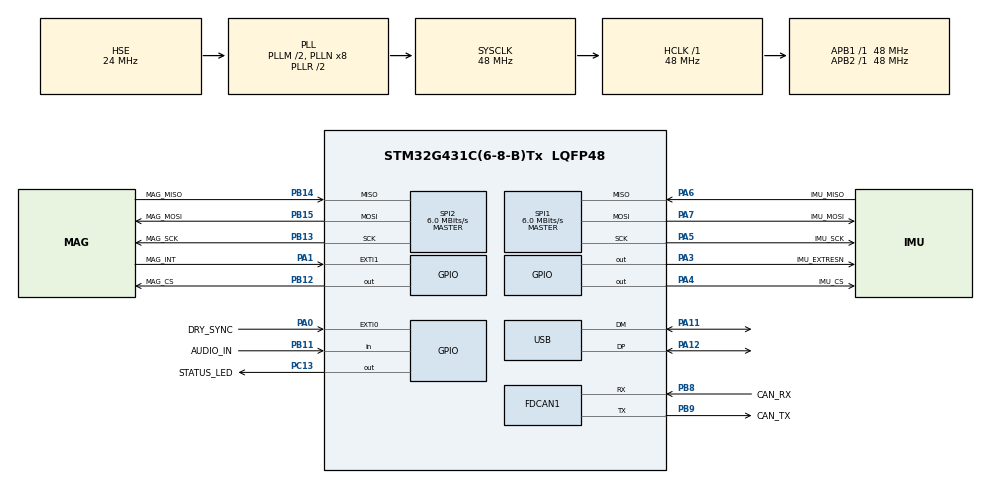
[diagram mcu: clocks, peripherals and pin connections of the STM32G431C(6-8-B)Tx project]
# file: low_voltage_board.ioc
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CRC.CRCLength=CRC_POLYLENGTH_16B
CRC.DefaultInitValueUse=DEFAULT_INIT_VALUE_DISABLE
CRC.DefaultPolynomialUse=DEFAULT_POLYNOMIAL_DISABLE
CRC.GeneratingPolynomial=X12+X5+X0
CRC.InitValue=0xFFFF
FDCAN1.AutoRetransmission=ENABLE
FDCAN1.CalculateBaudRateNominal=500000
FDCAN1.CalculateTimeBitNominal=2000
FDCAN1.CalculateTimeQuantumNominal=666.6666666666666
FDCAN1.StdFiltersNbr=1
Mcu.Family=STM32G4
Mcu.Name=STM32G431C(6-8-B)Tx
Mcu.Package=LQFP48
NVIC.EXTI0_IRQn=true\:0\:0\:false\:false\:true\:true\:true\:true
NVIC.EXTI1_IRQn=true\:0\:0\:false\:false\:true\:true\:true\:true
NVIC.PriorityGroup=NVIC_PRIORITYGROUP_4
NVIC.USB_LP_IRQn=true\:0\:0\:false\:false\:true\:false\:true\:true
PA0.GPIO_Label=DRY_SYNC
PA0.Signal=GPXTI0
PA1.GPIO_Label=MAG_INT
PA1.Signal=GPXTI1
PA11.Mode=Device
PA11.Signal=USB_DM
PA12.Mode=Device
PA12.Signal=USB_DP
PA13.Mode=Serial_Wire
PA13.Signal=SYS_JTMS-SWDIO
PA14.Mode=Serial_Wire
PA14.Signal=SYS_JTCK-SWCLK
PA3.GPIO_Label=IMU_EXTRESN
PA3.GPIO_Speed=GPIO_SPEED_FREQ_HIGH
PA3.PinState=GPIO_PIN_SET
PA3.Signal=GPIO_Output
PA4.GPIO_Label=IMU_CS
PA4.GPIO_Speed=GPIO_SPEED_FREQ_HIGH
PA4.PinState=GPIO_PIN_SET
PA4.Signal=GPIO_Output
PA5.GPIO_Label=IMU_SCK
PA5.Mode=Full_Duplex_Master
PA5.Signal=SPI1_SCK
PA6.GPIO_Label=IMU_MISO
PA6.Mode=Full_Duplex_Master
PA6.Signal=SPI1_MISO
PA7.GPIO_Label=IMU_MOSI
PA7.Mode=Full_Duplex_Master
PA7.Signal=SPI1_MOSI
PB0.GPIO_Label=ESC_PWM4
PB0.Signal=S_TIM3_CH3
PB1.GPIO_Label=ESC_PWM3
PB1.Signal=S_TIM3_CH4
PB11.GPIO_Label=AUDIO_IN
PB11.Signal=GPIO_Input
PB12.GPIO_Label=MAG_CS
PB12.GPIO_Speed=GPIO_SPEED_FREQ_HIGH
PB12.PinState=GPIO_PIN_SET
PB12.Signal=GPIO_Output
PB13.GPIO_Label=MAG_SCK
PB13.Mode=Full_Duplex_Master
PB13.Signal=SPI2_SCK
PB14.GPIO_Label=MAG_MISO
PB14.GPIO_PuPd=GPIO_PULLUP
PB14.Mode=Full_Duplex_Master
PB14.Signal=SPI2_MISO
PB15.GPIO_Label=MAG_MOSI
PB15.Mode=Full_Duplex_Master
PB15.Signal=SPI2_MOSI
PB4.GPIO_Label=ESC_PWM1
PB4.Signal=S_TIM3_CH1
PB5.GPIO_Label=ESC_PWM2
PB5.Signal=S_TIM3_CH2
PB8-BOOT0.GPIO_Label=CAN_RX
PB8-BOOT0.Mode=FDCAN_Activate
PB8-BOOT0.Signal=FDCAN1_RX
PB9.GPIO_Label=CAN_TX
PB9.Mode=FDCAN_Activate
PB9.Signal=FDCAN1_TX
PC13.GPIO_Label=STATUS_LED
PC13.Signal=GPIO_Output
PF0-OSC_IN.Mode=HSE-External-Oscillator
PF0-OSC_IN.Signal=RCC_OSC_IN
PF1-OSC_OUT.Mode=HSE-External-Oscillator
PF1-OSC_OUT.Signal=RCC_OSC_OUT
ProjectManager.HeapSize=0x200
ProjectManager.StackSize=0x400
ProjectManager.TargetToolchain=CMake
RCC.ADC12Freq_Value=48000000
RCC.AHBFreq_Value=48000000
RCC.APB1Freq_Value=48000000
RCC.APB1TimFreq_Value=48000000
RCC.APB2Freq_Value=48000000
RCC.APB2TimFreq_Value=48000000
RCC.CortexFreq_Value=48000000
RCC.EXTERNAL_CLOCK_VALUE=12288000
RCC.FDCANCLockSelection=RCC_FDCANCLKSOURCE_HSE
RCC.HCLKFreq_Value=48000000
RCC.HSE_VALUE=24000000
RCC.HSI48_VALUE=48000000
RCC.HSI_VALUE=16000000
RCC.LSE_VALUE=32768
RCC.PLLM=RCC_PLLM_DIV2
RCC.PLLSourceVirtual=RCC_PLLSOURCE_HSE
RCC.SYSCLKFreq_VALUE=48000000
RCC.SYSCLKSource=RCC_SYSCLKSOURCE_PLLCLK
RCC.USBFreq_Value=48000000
RCC.VCOOutputFreq_Value=96000000
SH.S_TIM3_CH1.0=TIM3_CH1
SH.S_TIM3_CH2.0=TIM3_CH2
SH.S_TIM3_CH3.0=TIM3_CH3
SH.S_TIM3_CH4.0=TIM3_CH4
SPI1.BaudRatePrescaler=SPI_BAUDRATEPRESCALER_8
SPI1.CalculateBaudRate=6.0 MBits/s
SPI1.DataSize=SPI_DATASIZE_8BIT
SPI1.Direction=SPI_DIRECTION_2LINES
SPI1.Mode=SPI_MODE_MASTER
SPI1.NSSPMode=SPI_NSS_PULSE_DISABLE
SPI1.VirtualType=VM_MASTER
SPI2.BaudRatePrescaler=SPI_BAUDRATEPRESCALER_8
SPI2.CLKPhase=SPI_PHASE_2EDGE
SPI2.CLKPolarity=SPI_POLARITY_HIGH
SPI2.CalculateBaudRate=6.0 MBits/s
SPI2.DataSize=SPI_DATASIZE_8BIT
SPI2.Direction=SPI_DIRECTION_2LINES
SPI2.Mode=SPI_MODE_MASTER
SPI2.VirtualType=VM_MASTER
USB_DEVICE.APP_RX_DATA_SIZE=512
USB_DEVICE.APP_TX_DATA_SIZE=512
USB_DEVICE.CLASS_NAME_FS=CDC
USB_DEVICE.USBD_SELF_POWERED=0
USB_DEVICE.VirtualMode=Cdc
USB_DEVICE.VirtualModeFS=Cdc_FS
VP_CRC_VS_CRC.Mode=CRC_Activate
VP_SYS_VS_DBSignals.Mode=DisableDeadBatterySignals
VP_USB_DEVICE_VS_USB_DEVICE_CDC_FS.Mode=CDC_FS
board=custom

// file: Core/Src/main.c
/* USER CODE BEGIN Header */
/**
 ******************************************************************************
 * @file           : main.c
 * @brief          : Main program body
 ******************************************************************************
 * @attention
 *
 * Copyright (c) 2026 STMicroelectronics.
 * All rights reserved.
 *
 * This software is licensed under terms that can be found in the LICENSE file
 * in the root directory of this software component.
 * If no LICENSE file comes with this software, it is provided AS-IS.
 *
 ******************************************************************************
 */
/* USER CODE END Header */
#include "main.h"
#include "crc.h"
#include "fdcan.h"
#include "gpio.h"
#include "spi.h"
#include "usb_device.h"

/* USER CODE BEGIN Includes */
#include "can_common.h"
#include "mmc5983.h"
#include "ring_buffer.h"
#include "sch16t.h"
#include "uart_common.h"
#include "usbd_cdc.h"
#include "usbd_cdc_if.h"
#include <stdbool.h>
#include <string.h>

extern USBD_HandleTypeDef hUsbDeviceFS;
/* USER CODE END Includes */

/* USER CODE BEGIN PD */
#define RX_RING_SIZE 512u
#define CMD_TIMEOUT_MS 200u

/* USER CODE END PD */

/* USER CODE BEGIN PV */

// UART
static uint8_t tx_buf[PKT_MAX_RAW];
static uint32_t tx_dropped = 0;
static uint8_t tx_counter = 0;

static uint8_t rx_buf[RX_RING_SIZE];
static ring_buf_t rx_ring_buf;

static uint8_t rx_frame[PKT_MAX_ENCODED];
static size_t rx_frame_len = 0;
static bool rx_frame_overflow = false;

static uint32_t rx_ok, rx_err_cobs, rx_err_crc, rx_err_len;

// IMU
static imu_data_t imu_state;
static bool imu_ok = false;
static uint32_t imu_errors = 0;

// MAG
static mag_data_t mag_state;
static bool mag_ok = false;
static uint32_t mag_errors = 0;

// COMMAND STATES
static thruster_commands_t thruster_states;
static launch_actions_t launch_action_state;
static uint16_t launcher_angle = 0;
static boat_state_t boat_state;

// TIMEOUT
static uint32_t last_rx_ms = 0;
static bool cmd_valid = false;
static uint8_t last_counter = 0;

// BMS
static battery_info_t battery = {0};
static uint32_t last_bms_ms = 0;

// LAUNCHER
static uint8_t shot_id = 0;                        // inc per fire request
static launch_actions_t shot_action = REST;        // latest shot cmd
static launch_actions_t prev_launch_action = REST; // edge detection

// CAN
static uint32_t can_tx_dropped = 0;
static uint32_t can_bus_off_count = 0;
static const uint8_t estop_rst[2] = {ESTOP_RST_0, ESTOP_RST_1};

// CAN payload length -> CAN DLC
static const uint32_t can_dlc[9] = {
    FDCAN_DLC_BYTES_0, FDCAN_DLC_BYTES_1, FDCAN_DLC_BYTES_2,
    FDCAN_DLC_BYTES_3, FDCAN_DLC_BYTES_4, FDCAN_DLC_BYTES_5,
    FDCAN_DLC_BYTES_6, FDCAN_DLC_BYTES_7, FDCAN_DLC_BYTES_8,
};

/* USER CODE END PV */

void SystemClock_Config(void);
/* USER CODE BEGIN PFP */

void send_tx_packet(const packet_tx_t *tx_pkt, uint8_t counter);
void push_rx(const uint8_t *data, uint32_t len);

static void handle_rx_frame(const uint8_t *data, size_t len);
static void rx_feed(uint8_t b);
static void failsafe(void);

static void init_can(void);
static bool send_can_pkt(uint32_t id, const void *data, uint8_t len);
static void poll_can_rx(void);
static void get_can_status(void);
static void CAN_cb(void);

/* USER CODE END PFP */

/* USER CODE BEGIN 0 */
void send_tx_packet(const packet_tx_t *tx_pkt, uint8_t counter) {
  USBD_CDC_HandleTypeDef *hcdc =
      (USBD_CDC_HandleTypeDef *)hUsbDeviceFS.pClassData;

  // previous transfer still using tx_buf
  if (hcdc == NULL || hcdc->TxState != 0) {
    tx_dropped++;
    return;
  }

  size_t n = serialize_packet(tx_pkt, sizeof(*tx_pkt), counter, tx_buf);
  if (n == 0)
    return;
  if (CDC_Transmit_FS(tx_buf, (uint16_t)n) != USBD_OK) {
    // just drop curr packet, send updated one next cycle
    tx_dropped++;
  }
}

void push_rx(const uint8_t *data, uint32_t len) {
  push_ring(&rx_ring_buf, data, len);
}

static void handle_rx_frame(const uint8_t *data, size_t len) {
  packet_rx_t pkt;
  uint8_t counter;

  switch (deserialize_packet(data, len, &pkt, sizeof(pkt), &counter)) {
  case PKT_OK:
    break;
  case PKT_ERR_COBS:
    rx_err_cobs++;
    return;
  case PKT_ERR_CRC:
    rx_err_crc++;
    return;
  case PKT_ERR_LEN:
    rx_err_len++;
    return;
  default:
    return;
  }

  // get a fire request on rising edge
  bool fire_req =
      (pkt.launch_action == FIRE_CANNON || pkt.launch_action == FIRE_PUMP);
  if (fire_req && pkt.launch_action != prev_launch_action &&
      pkt.state != SOFT_ESTOP) {
    // geneate new shot id
    shot_id++;
    shot_action = pkt.launch_action;
  }
  prev_launch_action = pkt.launch_action;

  boat_state = pkt.state;
  thruster_states = pkt.thruster_commands;
  launch_action_state = pkt.launch_action;
  launcher_angle = pkt.launcher_angle;
  last_counter = counter;
  last_rx_ms = HAL_GetTick();
  cmd_valid = true;
  rx_ok++;
}

static void rx_feed(uint8_t b) {
  // check if 0x00, if not append, else frame complete
  if (b == PKT_DELIMITER) {
    // frame complete, process:
    if (!rx_frame_overflow && rx_frame_len > 0)
      handle_rx_frame(rx_frame, rx_frame_len);
    rx_frame_len = 0;
    rx_frame_overflow = false;
    return;
  }
  if (rx_frame_len < sizeof(rx_frame))
    // append
    rx_frame[rx_frame_len++] = b;
  else
    // if too many bytes, discard until next delimiter
    rx_frame_overflow = true;
}

static void failsafe(void) {
  boat_state = SOFT_ESTOP;
  thruster_states = (thruster_commands_t){0};
  launch_action_state = REST;
}

static void init_can(void) {
  FDCAN_FilterTypeDef sFilterConfig = {0};

  sFilterConfig.IdType = FDCAN_STANDARD_ID;
  sFilterConfig.FilterType = FDCAN_FILTER_MASK;
  sFilterConfig.FilterConfig = FDCAN_FILTER_TO_RXFIFO0;
  sFilterConfig.FilterID2 = 0x7FF; // mask -> need all 11 bits to match

  // filter for BMS info
  sFilterConfig.FilterIndex = 0;
  sFilterConfig.FilterID1 = CAN_ID_BATTERY_INFO;
  if (HAL_FDCAN_ConfigFilter(&hfdcan1, &sFilterConfig) != HAL_OK) {
    Error_Handler();
  }

  // reject all other frames
  if (HAL_FDCAN_ConfigGlobalFilter(&hfdcan1, FDCAN_REJECT, FDCAN_REJECT,
                                   FDCAN_REJECT_REMOTE,
                                   FDCAN_REJECT_REMOTE) != HAL_OK) {
    Error_Handler();
  }

  // init comms
  if (HAL_FDCAN_Start(&hfdcan1) != HAL_OK) {
    Error_Handler();
  }
}

static bool send_can_pkt(uint32_t id, const void *data, uint8_t len) {
  if (len > 8)
    return false;

  // tx fifo full -> drop pkt
  if (HAL_FDCAN_GetTxFifoFreeLevel(&hfdcan1) == 0) {
    can_tx_dropped++;
    return false;
  }

  FDCAN_TxHeaderTypeDef hdr = {0};
  hdr.Identifier = id;
  hdr.IdType = FDCAN_STANDARD_ID;
  hdr.TxFrameType = FDCAN_DATA_FRAME;
  hdr.DataLength = can_dlc[len];
  hdr.ErrorStateIndicator = FDCAN_ESI_ACTIVE;
  hdr.BitRateSwitch = FDCAN_BRS_OFF;
  hdr.FDFormat = FDCAN_CLASSIC_CAN;
  hdr.TxEventFifoControl = FDCAN_NO_TX_EVENTS;
  hdr.MessageMarker = 0;

  // local payload copy
  uint8_t buf[8] = {0};
  if (data != NULL && len > 0)
    memcpy(buf, data, len);

  // add to tx can fifo
  if (HAL_FDCAN_AddMessageToTxFifoQ(&hfdcan1, &hdr, buf) != HAL_OK) {
    can_tx_dropped++;
    return false;
  }
  return true;
}

static void poll_can_rx(void) {
  FDCAN_RxHeaderTypeDef hdr;
  uint8_t payload[8];

  // iter through CAN RX FIFO
  while (HAL_FDCAN_GetRxFifoFillLevel(&hfdcan1, FDCAN_RX_FIFO0) > 0) {
    if (HAL_FDCAN_GetRxMessage(&hfdcan1, FDCAN_RX_FIFO0, &hdr, payload) !=
        HAL_OK)
      break;
    // only messages should be BMS type
    if (hdr.Identifier == CAN_ID_BATTERY_INFO &&
        hdr.DataLength == can_dlc[sizeof(battery_info_t)]) {
      memcpy(&battery, payload, sizeof(battery));
      last_bms_ms = HAL_GetTick();
    }
  }
}

static void get_can_status(void) {
  FDCAN_ProtocolStatusTypeDef ps;
  // get can statis
  if (HAL_FDCAN_GetProtocolStatus(&hfdcan1, &ps) != HAL_OK)
    return;

  // check faulty, if so reset
  if (ps.BusOff && READ_BIT(hfdcan1.Instance->CCCR, FDCAN_CCCR_INIT)) {
    can_bus_off_count++;
    CLEAR_BIT(hfdcan1.Instance->CCCR, FDCAN_CCCR_INIT);
  }
}

static void CAN_cb(void) {
  // timers defined in can_common.h
  static uint32_t last_estop_ms = 0;
  static uint32_t last_thruster_ms = 0;
  static uint32_t last_state_ms = 0;
  static bool prev_estopped = false; // sends estop at startup curr
  static uint8_t prev_state = 0;     // 0 = invalid -> forces first send
  static uint32_t last_launcher_ms = 0;
  static uint8_t prev_shot_id = 0;

  uint32_t now = HAL_GetTick();
  bool estopped = (boat_state == SOFT_ESTOP);

  get_can_status();
  poll_can_rx();

  // estop/rst sent on change and periodically
  if (estopped != prev_estopped || now - last_estop_ms >= CAN_ESTOP_REPEAT_MS) {
    bool sent =
        estopped ? send_can_pkt(CAN_ID_ESTOP, NULL, 0)
                 : send_can_pkt(CAN_ID_ESTOP_RST, estop_rst, sizeof(estop_rst));
    if (sent) {
      prev_estopped = estopped;
      last_estop_ms = now;
    }
  }

  // thrusters cmds always streamed
  if (now - last_thruster_ms >= CAN_THRUSTER_PERIOD_MS) {
    last_thruster_ms = now;
    thruster_commands_t cmd =
        estopped ? (thruster_commands_t){0} : thruster_states;
    send_can_pkt(CAN_ID_THRUSTER_CMD, &cmd, sizeof(cmd));
  }

  // boat state sent on change & periodically
  if (boat_state != prev_state || now - last_state_ms >= CAN_STATE_PERIOD_MS) {
    boat_state_msg_t msg = {.state = boat_state};
    if (send_can_pkt(CAN_ID_BOAT_STATE, &msg, sizeof(msg))) {
      prev_state = boat_state;
      last_state_ms = now;
    }
  }
  // launcher cmd sent on new shot & periodically
  // repeats keep same shot_id, but cannon only fires on new id
  if (shot_id != prev_shot_id ||
      now - last_launcher_ms >= CAN_LAUNCHER_PERIOD_MS) {
    // generate & send shot command
    launcher_cmd_t cmd;
    cmd.angle_deg = launcher_angle % 360;
    cmd.power = 0;
    cmd.action = estopped ? REST : shot_action;
    cmd.shot_id = shot_id;
    if (send_can_pkt(CAN_ID_LAUNCHER_CMD, &cmd, sizeof(cmd))) {
      prev_shot_id = shot_id;
      last_launcher_ms = now;
    }
  }
}

/* USER CODE END 0 */

int main(void) {

  /* MCU Configuration--------------------------------------------------------*/

  /* Reset of all peripherals, Initializes the Flash interface and the Systick.
   */
  HAL_Init();

  /* USER CODE BEGIN Init */
  init_ring(&rx_ring_buf, rx_buf, sizeof(rx_buf));
  failsafe();

  /* USER CODE END Init */

  /* Configure the system clock */
  SystemClock_Config();

  /* Initialize all configured peripherals */
  MX_GPIO_Init();
  MX_FDCAN1_Init();
  MX_SPI1_Init();
  MX_SPI2_Init();
  MX_USB_Device_Init();
  MX_CRC_Init();
  /* USER CODE BEGIN 2 */
  imu_ok = imu_init();
  mag_ok = mag_init();
  init_can();

  /* USER CODE END 2 */

  /* Infinite loop */
  while (1) {

    /* USER CODE BEGIN 3 */
    static uint32_t last_tx = 0;
    static uint32_t last_blink = 0;

    // status LED, 1 Hz
    if (HAL_GetTick() - last_blink >= 500) {
      last_blink = HAL_GetTick();
      HAL_GPIO_TogglePin(STATUS_LED_GPIO_Port, STATUS_LED_Pin);
    }

    // 500 Hz
    if (HAL_GetTick() - last_tx >= 2) {
      last_tx = HAL_GetTick();
      packet_tx_t tx = {0};
      tx.stamp_ms = HAL_GetTick();

      // imu
      if (!imu_read(&imu_state))
        imu_errors++;
      tx.imu_data = imu_state;

      // magnetometer
      if (!mag_read(&mag_state)) {
        mag_errors++;
        mag_state.status = 0;
      }
      tx.mag_data = mag_state;

      // battery stats (from BMS over can)
      tx.voltage = battery.voltage_mV;
      tx.current = battery.current_mA;

      send_tx_packet(&tx, tx_counter++);
    }

    uint8_t b;
    while (pop_ring(&rx_ring_buf, &b)) {
      rx_feed(b);
    }

    if (!cmd_valid || (HAL_GetTick() - last_rx_ms) > CMD_TIMEOUT_MS) {
      failsafe();
    }

    // after failsafe so can always sends the latest (failsafed) state
    CAN_cb();
  }
  /* USER CODE END 3 */
}

void SystemClock_Config(void) {
  RCC_OscInitTypeDef RCC_OscInitStruct = {0};
  RCC_ClkInitTypeDef RCC_ClkInitStruct = {0};

  /** Configure the main internal regulator output voltage
   */
  HAL_PWREx_ControlVoltageScaling(PWR_REGULATOR_VOLTAGE_SCALE1);

  /** Initializes the RCC Oscillators according to the specified parameters
   * in the RCC_OscInitTypeDef structure.
   */
  RCC_OscInitStruct.OscillatorType = RCC_OSCILLATORTYPE_HSE;
  RCC_OscInitStruct.HSEState = RCC_HSE_ON;
  RCC_OscInitStruct.PLL.PLLState = RCC_PLL_ON;
  RCC_OscInitStruct.PLL.PLLSource = RCC_PLLSOURCE_HSE;
  RCC_OscInitStruct.PLL.PLLM = RCC_PLLM_DIV2;
  RCC_OscInitStruct.PLL.PLLN = 8;
  RCC_OscInitStruct.PLL.PLLP = RCC_PLLP_DIV2;
  RCC_OscInitStruct.PLL.PLLQ = RCC_PLLQ_DIV2;
  RCC_OscInitStruct.PLL.PLLR = RCC_PLLR_DIV2;
  if (HAL_RCC_OscConfig(&RCC_OscInitStruct) != HAL_OK) {
    Error_Handler();
  }

  /** Initializes the CPU, AHB and APB buses clocks
   */
  RCC_ClkInitStruct.ClockType = RCC_CLOCKTYPE_HCLK | RCC_CLOCKTYPE_SYSCLK |
                                RCC_CLOCKTYPE_PCLK1 | RCC_CLOCKTYPE_PCLK2;
  RCC_ClkInitStruct.SYSCLKSource = RCC_SYSCLKSOURCE_PLLCLK;
  RCC_ClkInitStruct.AHBCLKDivider = RCC_SYSCLK_DIV1;
  RCC_ClkInitStruct.APB1CLKDivider = RCC_HCLK_DIV1;
  RCC_ClkInitStruct.APB2CLKDivider = RCC_HCLK_DIV1;

  if (HAL_RCC_ClockConfig(&RCC_ClkInitStruct, FLASH_LATENCY_1) != HAL_OK) {
    Error_Handler();
  }
}

void Error_Handler(void) {
  /* USER CODE BEGIN Error_Handler_Debug */
  /* User can add his own implementation to report the HAL error return state */
  __disable_irq();
  // LED high on error
  HAL_GPIO_WritePin(STATUS_LED_GPIO_Port, STATUS_LED_Pin, GPIO_PIN_SET);
  while (1) {
  }
  /* USER CODE END Error_Handler_Debug */
}
#ifdef USE_FULL_ASSERT
/**
 * @brief  Reports the name of the source file and the source line number
 *         where the assert_param error has occurred.
 * @param  file: pointer to the source file name
 * @param  line: assert_param error line source number
 * @retval None
 */
void assert_failed(uint8_t *file, uint32_t line) {
  /* USER CODE BEGIN 6 */
  /* User can add his own implementation to report the file name and line
     number, ex: printf("Wrong parameters value: file %s on line %d\r\n", file,
     line) */
  /* USER CODE END 6 */
}
#endif /* USE_FULL_ASSERT */
